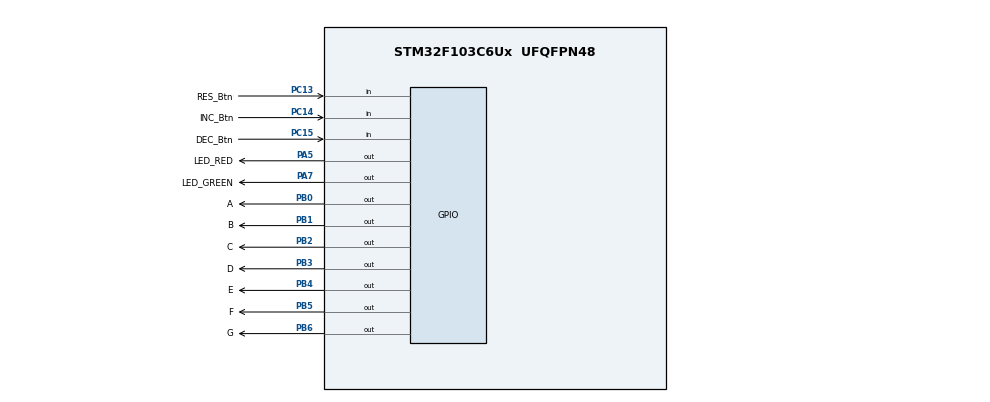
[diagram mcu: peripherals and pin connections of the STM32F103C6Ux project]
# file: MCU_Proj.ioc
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Mcu.Family=STM32F1
Mcu.Name=STM32F103C6Ux
Mcu.Package=UFQFPN48
NVIC.PriorityGroup=NVIC_PRIORITYGROUP_4
NVIC.TIM2_IRQn=true\:0\:0\:false\:false\:true\:true\:true\:true
PA5.GPIO_Label=LED_RED
PA5.Signal=GPIO_Output
PA7.GPIO_Label=LED_GREEN
PA7.Signal=GPIO_Output
PB0.GPIO_Label=A
PB0.Signal=GPIO_Output
PB1.GPIO_Label=B
PB1.Signal=GPIO_Output
PB2.GPIO_Label=C
PB2.Signal=GPIO_Output
PB3.GPIO_Label=D
PB3.Signal=GPIO_Output
PB4.GPIO_Label=E
PB4.Signal=GPIO_Output
PB5.GPIO_Label=F
PB5.Signal=GPIO_Output
PB6.GPIO_Label=G
PB6.Signal=GPIO_Output
PC13-TAMPER-RTC.GPIO_Label=RES_Btn
PC13-TAMPER-RTC.GPIO_PuPd=GPIO_PULLUP
PC13-TAMPER-RTC.Signal=GPIO_Input
PC14-OSC32_IN.GPIO_Label=INC_Btn
PC14-OSC32_IN.GPIO_PuPd=GPIO_PULLUP
PC14-OSC32_IN.Signal=GPIO_Input
PC15-OSC32_OUT.GPIO_Label=DEC_Btn
PC15-OSC32_OUT.GPIO_PuPd=GPIO_PULLUP
PC15-OSC32_OUT.Signal=GPIO_Input
ProjectManager.HeapSize=0x200
ProjectManager.StackSize=0x400
ProjectManager.TargetToolchain=STM32CubeIDE
RCC.APB1Freq_Value=8000000
RCC.APB2Freq_Value=8000000
TIM2.Period=9
TIM2.Prescaler=7999
VP_SYS_VS_ND.Mode=No_Debug
VP_TIM2_VS_ClockSourceINT.Mode=Internal
board=custom

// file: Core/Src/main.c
/* USER CODE BEGIN Header */
/**
  ******************************************************************************
  * @file           : main.c
  * @brief          : Main program body
  ******************************************************************************
  * @attention
  *
  * <h2><center>&copy; Copyright (c) 2022 STMicroelectronics.
  * All rights reserved.</center></h2>
  *
  * This software component is licensed by ST under BSD 3-Clause license,
  * the "License"; You may not use this file except in compliance with the
  * License. You may obtain a copy of the License at:
  *                        opensource.org/licenses/BSD-3-Clause
  *
  ******************************************************************************
  */
/* USER CODE END Header */
#include "main.h"

/* USER CODE BEGIN Includes */
#include "software_timer.h"
#include "global.h"
#include "button.h"
#include "fsm_automatic.h"
#include "fsm_manual.h"
#include "display7SEG.h"
#include "fsm_simple_buttons_run.h"
#include "LedBlinky.h"
/* USER CODE END Includes */

TIM_HandleTypeDef htim2;

void SystemClock_Config(void);
static void MX_GPIO_Init(void);
static void MX_TIM2_Init(void);

int main(void)
{

  /* MCU Configuration--------------------------------------------------------*/

  /* Reset of all peripherals, Initializes the Flash interface and the Systick. */
  HAL_Init();

  /* Configure the system clock */
  SystemClock_Config();

  /* Initialize all configured peripherals */
  MX_GPIO_Init();
  MX_TIM2_Init();
  /* USER CODE BEGIN 2 */
  HAL_TIM_Base_Start_IT(&htim2);
  /* USER CODE END 2 */

  /* Infinite loop */
  /* USER CODE BEGIN WHILE */
//  setTimer1(500);
//  status = INIT;
  status = INIT;
  setTimer3(1000);
//  uint8_t segmentNumber[10] = {
//            0xC0,  // 0
//            0xF9,  // 1
//            0xA4,  // 2
//            0xB0,  // 3
//            0x99,  // 4
//            0x92,  // 5
//            0x82,  // 6
//            0xF8,  // 7
//            0x80,  // 8
//            0x90   // 9
//    };
//    uint8_t counter = 0;

  while (1)
  {
	  //	  if(timer1_flag == 1) {
	  //		  setTimer1(500);
	  //		  HAL_GPIO_TogglePin(LED_RED_GPIO_Port, LED_RED_Pin);
	  //	  }
//	  if(isButton1Pressed() == 1) {
//		  HAL_GPIO_TogglePin(LED_RED_GPIO_Port, LED_RED_Pin);
//	  }
//	  fsm_manual_run();
//	  fsm_automatic_run();
//	  if(status == INIT||status == AUTO_RED||status == AUTO_GREEN||status == AUTO_YELLOW){
//	  		  fsm_automatic_run();
//	  }
//	  else {
//	  		  fsm_manual_run();
//	  }

	  fsm_simple_buttons_run();
	  LedBlinky();

    /* USER CODE END WHILE */

  }
}

void SystemClock_Config(void)
{
  RCC_OscInitTypeDef RCC_OscInitStruct = {0};
  RCC_ClkInitTypeDef RCC_ClkInitStruct = {0};

  /** Initializes the RCC Oscillators according to the specified parameters
  * in the RCC_OscInitTypeDef structure.
  */
  RCC_OscInitStruct.OscillatorType = RCC_OSCILLATORTYPE_HSI;
  RCC_OscInitStruct.HSIState = RCC_HSI_ON;
  RCC_OscInitStruct.HSICalibrationValue = RCC_HSICALIBRATION_DEFAULT;
  RCC_OscInitStruct.PLL.PLLState = RCC_PLL_NONE;
  if (HAL_RCC_OscConfig(&RCC_OscInitStruct) != HAL_OK)
  {
    Error_Handler();
  }
  /** Initializes the CPU, AHB and APB buses clocks
  */
  RCC_ClkInitStruct.ClockType = RCC_CLOCKTYPE_HCLK|RCC_CLOCKTYPE_SYSCLK
                              |RCC_CLOCKTYPE_PCLK1|RCC_CLOCKTYPE_PCLK2;
  RCC_ClkInitStruct.SYSCLKSource = RCC_SYSCLKSOURCE_HSI;
  RCC_ClkInitStruct.AHBCLKDivider = RCC_SYSCLK_DIV1;
  RCC_ClkInitStruct.APB1CLKDivider = RCC_HCLK_DIV1;
  RCC_ClkInitStruct.APB2CLKDivider = RCC_HCLK_DIV1;

  if (HAL_RCC_ClockConfig(&RCC_ClkInitStruct, FLASH_LATENCY_0) != HAL_OK)
  {
    Error_Handler();
  }
}

static void MX_TIM2_Init(void)
{

  TIM_ClockConfigTypeDef sClockSourceConfig = {0};
  TIM_MasterConfigTypeDef sMasterConfig = {0};

  htim2.Instance = TIM2;
  htim2.Init.Prescaler = 7999;
  htim2.Init.CounterMode = TIM_COUNTERMODE_UP;
  htim2.Init.Period = 9;
  htim2.Init.ClockDivision = TIM_CLOCKDIVISION_DIV1;
  htim2.Init.AutoReloadPreload = TIM_AUTORELOAD_PRELOAD_DISABLE;
  if (HAL_TIM_Base_Init(&htim2) != HAL_OK)
  {
    Error_Handler();
  }
  sClockSourceConfig.ClockSource = TIM_CLOCKSOURCE_INTERNAL;
  if (HAL_TIM_ConfigClockSource(&htim2, &sClockSourceConfig) != HAL_OK)
  {
    Error_Handler();
  }
  sMasterConfig.MasterOutputTrigger = TIM_TRGO_RESET;
  sMasterConfig.MasterSlaveMode = TIM_MASTERSLAVEMODE_DISABLE;
  if (HAL_TIMEx_MasterConfigSynchronization(&htim2, &sMasterConfig) != HAL_OK)
  {
    Error_Handler();
  }

}

static void MX_GPIO_Init(void)
{
  GPIO_InitTypeDef GPIO_InitStruct = {0};

  /* GPIO Ports Clock Enable */
  __HAL_RCC_GPIOC_CLK_ENABLE();
  __HAL_RCC_GPIOA_CLK_ENABLE();
  __HAL_RCC_GPIOB_CLK_ENABLE();

  /*Configure GPIO pin Output Level */
  HAL_GPIO_WritePin(GPIOA, LED_RED_Pin|LED_GREEN_Pin, GPIO_PIN_RESET);

  /*Configure GPIO pin Output Level */
  HAL_GPIO_WritePin(GPIOB, A_Pin|B_Pin|C_Pin|D_Pin
                          |E_Pin|F_Pin|G_Pin, GPIO_PIN_RESET);

  /*Configure GPIO pins : RES_Btn_Pin INC_Btn_Pin DEC_Btn_Pin */
  GPIO_InitStruct.Pin = RES_Btn_Pin|INC_Btn_Pin|DEC_Btn_Pin;
  GPIO_InitStruct.Mode = GPIO_MODE_INPUT;
  GPIO_InitStruct.Pull = GPIO_PULLUP;
  HAL_GPIO_Init(GPIOC, &GPIO_InitStruct);

  /*Configure GPIO pins : LED_RED_Pin LED_GREEN_Pin */
  GPIO_InitStruct.Pin = LED_RED_Pin|LED_GREEN_Pin;
  GPIO_InitStruct.Mode = GPIO_MODE_OUTPUT_PP;
  GPIO_InitStruct.Pull = GPIO_NOPULL;
  GPIO_InitStruct.Speed = GPIO_SPEED_FREQ_LOW;
  HAL_GPIO_Init(GPIOA, &GPIO_InitStruct);

  /*Configure GPIO pins : A_Pin B_Pin C_Pin D_Pin
                           E_Pin F_Pin G_Pin */
  GPIO_InitStruct.Pin = A_Pin|B_Pin|C_Pin|D_Pin
                          |E_Pin|F_Pin|G_Pin;
  GPIO_InitStruct.Mode = GPIO_MODE_OUTPUT_PP;
  GPIO_InitStruct.Pull = GPIO_NOPULL;
  GPIO_InitStruct.Speed = GPIO_SPEED_FREQ_LOW;
  HAL_GPIO_Init(GPIOB, &GPIO_InitStruct);

}

/* USER CODE BEGIN 4 */
//	int counter = 500;
	void HAL_TIM_PeriodElapsedCallback(TIM_HandleTypeDef *htim){
		timerRun();
		getKeyInput_INCBtn();
		getKeyInput_RESBtn();
		getKeyInput_DECBtn();
	}
/* USER CODE END 4 */

void Error_Handler(void)
{
  __disable_irq();
  while (1)
  {
  }
}

/************************ (C) COPYRIGHT STMicroelectronics *****END OF FILE****/
